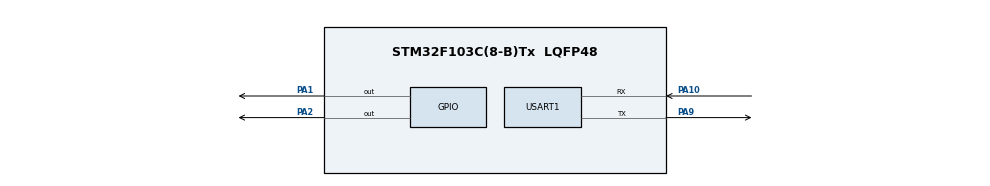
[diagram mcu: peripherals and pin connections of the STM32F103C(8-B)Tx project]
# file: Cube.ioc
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Mcu.Family=STM32F1
Mcu.Name=STM32F103C(8-B)Tx
Mcu.Package=LQFP48
NVIC.PriorityGroup=NVIC_PRIORITYGROUP_4
PA1.Signal=GPIO_Output
PA10.Mode=Asynchronous
PA10.Signal=USART1_RX
PA2.Signal=GPIO_Output
PA9.Mode=Asynchronous
PA9.Signal=USART1_TX
ProjectManager.HeapSize=0x200
ProjectManager.StackSize=0x400
ProjectManager.TargetToolchain=Makefile
RCC.APB1Freq_Value=8000000
RCC.APB2Freq_Value=8000000
USART1.VirtualMode=VM_ASYNC
VP_SYS_VS_ND.Mode=No_Debug
board=Cube

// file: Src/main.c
/**
  ******************************************************************************
  * @file           : main.c
  * @brief          : Main program body
  ******************************************************************************
  ** This notice applies to any and all portions of this file
  * that are not between comment pairs USER CODE BEGIN and
  * USER CODE END. Other portions of this file, whether
  * inserted by the user or by software development tools
  * are owned by their respective copyright owners.
  *
  * COPYRIGHT(c) 2018 STMicroelectronics
  *
  * Redistribution and use in source and binary forms, with or without modification,
  * are permitted provided that the following conditions are met:
  *   1. Redistributions of source code must retain the above copyright notice,
  *      this list of conditions and the following disclaimer.
  *   2. Redistributions in binary form must reproduce the above copyright notice,
  *      this list of conditions and the following disclaimer in the documentation
  *      and/or other materials provided with the distribution.
  *   3. Neither the name of STMicroelectronics nor the names of its contributors
  *      may be used to endorse or promote products derived from this software
  *      without specific prior written permission.
  *
  * THIS SOFTWARE IS PROVIDED BY THE COPYRIGHT HOLDERS AND CONTRIBUTORS "AS IS"
  * AND ANY EXPRESS OR IMPLIED WARRANTIES, INCLUDING, BUT NOT LIMITED TO, THE
  * IMPLIED WARRANTIES OF MERCHANTABILITY AND FITNESS FOR A PARTICULAR PURPOSE ARE
  * DISCLAIMED. IN NO EVENT SHALL THE COPYRIGHT HOLDER OR CONTRIBUTORS BE LIABLE
  * FOR ANY DIRECT, INDIRECT, INCIDENTAL, SPECIAL, EXEMPLARY, OR CONSEQUENTIAL
  * DAMAGES (INCLUDING, BUT NOT LIMITED TO, PROCUREMENT OF SUBSTITUTE GOODS OR
  * SERVICES; LOSS OF USE, DATA, OR PROFITS; OR BUSINESS INTERRUPTION) HOWEVER
  * CAUSED AND ON ANY THEORY OF LIABILITY, WHETHER IN CONTRACT, STRICT LIABILITY,
  * OR TORT (INCLUDING NEGLIGENCE OR OTHERWISE) ARISING IN ANY WAY OUT OF THE USE
  * OF THIS SOFTWARE, EVEN IF ADVISED OF THE POSSIBILITY OF SUCH DAMAGE.
  *
  ******************************************************************************
  */
#include "main.h"
#include "stm32f1xx_hal.h"

/* USER CODE BEGIN Includes */
#include "os.h"
#include "debug.h"

/* USER CODE END Includes */

UART_HandleTypeDef huart1;

/* USER CODE BEGIN PV */
/* Private variables ---------------------------------------------------------*/

/* USER CODE END PV */

void SystemClock_Config(void);
static void MX_GPIO_Init(void);
static void MX_USART1_UART_Init(void);

/* USER CODE BEGIN PFP */
/* Private function prototypes -----------------------------------------------*/

/* USER CODE END PFP */

/* USER CODE BEGIN 0 */
void* taskA()
{
  logger(&huart1, "Task1_Run\n");
	for (;;) {
		HAL_GPIO_WritePin(GPIOA, GPIO_PIN_1, GPIO_PIN_RESET);
		os_setTaskDelay(13);
		HAL_GPIO_WritePin(GPIOA, GPIO_PIN_1, GPIO_PIN_SET);
	}
}

void* taskB()
{
  logger(&huart1, "Task2_Run\n");
	for (;;) {
		HAL_GPIO_WritePin(GPIOA, GPIO_PIN_2, GPIO_PIN_RESET);
		os_setTaskDelay(23);
		HAL_GPIO_WritePin(GPIOA, GPIO_PIN_2, GPIO_PIN_SET);
	}
}
/* USER CODE END 0 */

int main(void)
{

  /* MCU Configuration----------------------------------------------------------*/

  /* Reset of all peripherals, Initializes the Flash interface and the Systick. */
  HAL_Init();

  /* Configure the system clock */
  SystemClock_Config();

  /* Initialize all configured peripherals */
  MX_GPIO_Init();
  MX_USART1_UART_Init();
  /* USER CODE BEGIN 2 */
  HAL_Delay(5000);
  logger(&huart1, "HW\n");
  HAL_GPIO_WritePin(GPIOA, GPIO_PIN_1, GPIO_PIN_SET);
  HAL_GPIO_WritePin(GPIOA, GPIO_PIN_2, GPIO_PIN_SET);

  os_enterCritical();
  os_pre();
  os_createTask(taskA);
  os_createTask(taskB);
  osStart();
  /* USER CODE END 2 */

  /* Infinite loop */
  while (1)
  {

  }

}

void SystemClock_Config(void)
{

  RCC_OscInitTypeDef RCC_OscInitStruct;
  RCC_ClkInitTypeDef RCC_ClkInitStruct;

    /**Initializes the CPU, AHB and APB busses clocks
    */
  RCC_OscInitStruct.OscillatorType = RCC_OSCILLATORTYPE_HSI;
  RCC_OscInitStruct.HSIState = RCC_HSI_ON;
  RCC_OscInitStruct.HSICalibrationValue = 16;
  RCC_OscInitStruct.PLL.PLLState = RCC_PLL_NONE;
  if (HAL_RCC_OscConfig(&RCC_OscInitStruct) != HAL_OK)
  {
    _Error_Handler(__FILE__, __LINE__);
  }

    /**Initializes the CPU, AHB and APB busses clocks
    */
  RCC_ClkInitStruct.ClockType = RCC_CLOCKTYPE_HCLK|RCC_CLOCKTYPE_SYSCLK
                              |RCC_CLOCKTYPE_PCLK1|RCC_CLOCKTYPE_PCLK2;
  RCC_ClkInitStruct.SYSCLKSource = RCC_SYSCLKSOURCE_HSI;
  RCC_ClkInitStruct.AHBCLKDivider = RCC_SYSCLK_DIV1;
  RCC_ClkInitStruct.APB1CLKDivider = RCC_HCLK_DIV1;
  RCC_ClkInitStruct.APB2CLKDivider = RCC_HCLK_DIV1;

  if (HAL_RCC_ClockConfig(&RCC_ClkInitStruct, FLASH_LATENCY_0) != HAL_OK)
  {
    _Error_Handler(__FILE__, __LINE__);
  }

    /**Configure the Systick interrupt time
    */
  HAL_SYSTICK_Config(HAL_RCC_GetHCLKFreq()/1000);

    /**Configure the Systick
    */
  HAL_SYSTICK_CLKSourceConfig(SYSTICK_CLKSOURCE_HCLK);

  /* SysTick_IRQn interrupt configuration */
  HAL_NVIC_SetPriority(SysTick_IRQn, 0, 0);
}

/* USART1 init function */
static void MX_USART1_UART_Init(void)
{

  huart1.Instance = USART1;
  huart1.Init.BaudRate = 115200;
  huart1.Init.WordLength = UART_WORDLENGTH_8B;
  huart1.Init.StopBits = UART_STOPBITS_1;
  huart1.Init.Parity = UART_PARITY_NONE;
  huart1.Init.Mode = UART_MODE_TX_RX;
  huart1.Init.HwFlowCtl = UART_HWCONTROL_NONE;
  huart1.Init.OverSampling = UART_OVERSAMPLING_16;
  if (HAL_UART_Init(&huart1) != HAL_OK)
  {
    _Error_Handler(__FILE__, __LINE__);
  }

}

/** Configure pins as
        * Analog
        * Input
        * Output
        * EVENT_OUT
        * EXTI
*/
static void MX_GPIO_Init(void)
{

  GPIO_InitTypeDef GPIO_InitStruct;

  /* GPIO Ports Clock Enable */
  __HAL_RCC_GPIOA_CLK_ENABLE();

  /*Configure GPIO pin Output Level */
  HAL_GPIO_WritePin(GPIOA, GPIO_PIN_1|GPIO_PIN_2, GPIO_PIN_RESET);

  /*Configure GPIO pins : PA1 PA2 */
  GPIO_InitStruct.Pin = GPIO_PIN_1|GPIO_PIN_2;
  GPIO_InitStruct.Mode = GPIO_MODE_OUTPUT_PP;
  GPIO_InitStruct.Speed = GPIO_SPEED_FREQ_LOW;
  HAL_GPIO_Init(GPIOA, &GPIO_InitStruct);

}

void _Error_Handler(char *file, int line)
{
  while(1)
  {
  }
}

/************************ (C) COPYRIGHT STMicroelectronics *****END OF FILE****/
